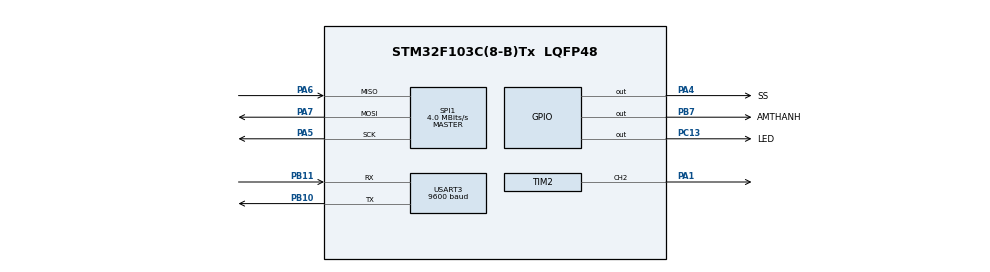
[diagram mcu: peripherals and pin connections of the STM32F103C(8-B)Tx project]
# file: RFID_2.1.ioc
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Mcu.Family=STM32F1
PA6.Mode=Full_Duplex_Master
PA7.Mode=Full_Duplex_Master
PD1-OSC_OUT.Mode=HSE-External-Oscillator
SPI1.VirtualType=VM_MASTER
PB10.Mode=Asynchronous
PC13-TAMPER-RTC.Signal=GPIO_Output
PD0-OSC_IN.Signal=RCC_OSC_IN
TIM2.Channel-PWM\ Generation2\ CH2=TIM_CHANNEL_2
PB11.Signal=USART3_RX
ProjectManager.StackSize=0x400
PD1-OSC_OUT.Signal=RCC_OSC_OUT
PA13.Signal=SYS_JTMS-SWDIO
SH.S_TIM2_CH2.0=TIM2_CH2,PWM Generation2 CH2
USART3.BaudRate=9600
PB11.Mode=Asynchronous
ProjectManager.TargetToolchain=STM32CubeIDE
SPI1.Direction=SPI_DIRECTION_2LINES
SPI1.CalculateBaudRate=4.0 MBits/s
PA1.Signal=S_TIM2_CH2
PD0-OSC_IN.Mode=HSE-External-Oscillator
PB10.Signal=USART3_TX
PA5.Signal=SPI1_SCK
board=custom
PC13-TAMPER-RTC.GPIO_Label=LED
RCC.APB2Freq_Value=8000000
VP_TIM2_VS_ClockSourceINT.Mode=Internal
SPI1.Mode=SPI_MODE_MASTER
PA14.Mode=Serial_Wire
PB7.Signal=GPIO_Output
TIM2.Period=10000-1
PA13.Mode=Serial_Wire
Mcu.Name=STM32F103C(8-B)Tx
PB7.GPIO_Label=AMTHANH
PA4.Signal=GPIO_Output
Mcu.Package=LQFP48
TIM2.Prescaler=16-1
PA6.Signal=SPI1_MISO
USART3.VirtualMode=VM_ASYNC
PA14.Signal=SYS_JTCK-SWCLK
ProjectManager.HeapSize=0x200
NVIC.PriorityGroup=NVIC_PRIORITYGROUP_4
RCC.APB1Freq_Value=8000000
PA4.GPIO_Label=SS
PA5.Mode=Full_Duplex_Master
PA7.Signal=SPI1_MOSI

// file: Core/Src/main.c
/* USER CODE BEGIN Header */
/**
 ******************************************************************************
 * @file           : main.c
 * @brief          : Main program body
 ******************************************************************************
 * @attention
 *
 * <h2><center>&copy; Copyright (c) 2023 STMicroelectronics.
 * All rights reserved.</center></h2>
 *
 * This software component is licensed by ST under BSD 3-Clause license,
 * the "License"; You may not use this file except in compliance with the
 * License. You may obtain a copy of the License at:
 *                        opensource.org/licenses/BSD-3-Clause
 *
 ******************************************************************************
 */
/* USER CODE END Header */
#include "main.h"

/* USER CODE BEGIN Includes */
#include "rc522.h"
#include "string.h"
#include "stdio.h"
/* USER CODE END Includes */

SPI_HandleTypeDef hspi1;

TIM_HandleTypeDef htim2;

UART_HandleTypeDef huart3;

void SystemClock_Config(void);
static void MX_GPIO_Init(void);
static void MX_SPI1_Init(void);
static void MX_TIM2_Init(void);
static void MX_USART3_UART_Init(void);

/* USER CODE BEGIN 0 */
uint8_t CardID[5];
uint8_t CardID_s[5];

uint8_t MyID1[5] = { 0x26, 0x35, 0xaf, 0xac, 0xb3 };
uint8_t MyID2[5] = { 0x26, 0xfc, 0x5, 0xad, 0x11 };
uint8_t MyID3[5] = { 0x26, 0x52, 0xe, 0xad, 0x24 };
uint8_t MyID4[5] = { 0x26, 0x36, 0xf, 0xad, 0x11 };
uint8_t MyID5[5] = { 0x26, 0x5, 0x94, 0xac, 0x8 };
uint8_t Status1 = 0;
uint8_t Status2 = 0;
uint8_t Status3 = 0;
uint8_t Status4 = 0;
uint8_t Status5 = 0;

uint32_t t_prev = 0;
uint32_t t_prev2 = 0;
uint32_t t_prev3 = 0;
void servo_out_ON() {
	__HAL_TIM_SET_COMPARE(&htim2, TIM_CHANNEL_2, 750);  // duty cycle is 2ms
}
void servo_out_OFF() {
	__HAL_TIM_SET_COMPARE(&htim2, TIM_CHANNEL_2, 250);  // duty cycle is 1 ms
}
int a = 1;
int b = 1;
int c = 1;
int d = 1;
uint8_t num;
uint8_t flag;
#define BUFFER_SIZE 20
char buffer[BUFFER_SIZE];
uint8_t DataRx[BUFFER_SIZE];
uint8_t data[10] = { 0x01, 0x02, 0x03, 0x04 };
void HAL_UARTEx_RxEventCallback(UART_HandleTypeDef *huart, uint16_t Size) {
	flag = 1;
	HAL_UARTEx_ReceiveToIdle_IT(&huart3, DataRx, sizeof(DataRx));
}
uint8_t bufferTx[30];
uint8_t num1, num2, num3, num4;
uint8_t tt_loa;
/* USER CODE END 0 */

int main(void) {

	/* MCU Configuration--------------------------------------------------------*/

	/* Reset of all peripherals, Initializes the Flash interface and the Systick. */
	HAL_Init();

	/* Configure the system clock */
	SystemClock_Config();

	/* Initialize all configured peripherals */
	MX_GPIO_Init();
	MX_SPI1_Init();
	MX_TIM2_Init();
	MX_USART3_UART_Init();
	/* USER CODE BEGIN 2 */
	HAL_TIM_PWM_Start(&htim2, TIM_CHANNEL_2);
	TM_MFRC522_Init();
	HAL_GPIO_WritePin(LED_GPIO_Port, LED_Pin, 1);
	HAL_GPIO_WritePin(AMTHANH_GPIO_Port, AMTHANH_Pin, 1);

	HAL_UARTEx_ReceiveToIdle_IT(&huart3, DataRx, sizeof(DataRx));
	/* USER CODE END 2 */

	/* Infinite loop */
	/* USER CODE BEGIN WHILE */
	while (1) {
		//tt_loa = HAL_GPIO_ReadPin(AMTHANH_GPIO_Port, AMTHANH_Pin);
		if (HAL_GetTick() - t_prev >= 100) {
			if (!TM_MFRC522_Request(PICC_REQIDL, CardID)) {
				if (!TM_MFRC522_Anticoll(CardID)) {
					HAL_GPIO_WritePin(LED_GPIO_Port, LED_Pin, 0);
					if (TM_MFRC522_Compare(CardID, MyID1) == MI_OK) {
						servo_out_ON();
						num = 1;
						Status1 = 1;
						HAL_GPIO_WritePin(AMTHANH_GPIO_Port, AMTHANH_Pin, 1);
					} else if (TM_MFRC522_Compare(CardID, MyID2) == MI_OK) {
						servo_out_ON();
						num = 2;
						Status1 = 1;
						HAL_GPIO_WritePin(AMTHANH_GPIO_Port, AMTHANH_Pin, 1);
					} else if (TM_MFRC522_Compare(CardID, MyID3) == MI_OK) {
						servo_out_ON();
						num = 3;
						Status1 = 1;
						HAL_GPIO_WritePin(AMTHANH_GPIO_Port, AMTHANH_Pin, 1);
					} else if (TM_MFRC522_Compare(CardID, MyID4) == MI_OK) {
						servo_out_ON();
						num = 4;
						Status1 = 1;
						HAL_GPIO_WritePin(AMTHANH_GPIO_Port, AMTHANH_Pin, 1);
					} else if (TM_MFRC522_Compare(CardID, MyID5) == MI_OK) {
						servo_out_ON();
						num = 4;
						Status1 = 1;
						HAL_GPIO_WritePin(AMTHANH_GPIO_Port, AMTHANH_Pin, 1);
					}
					sprintf((char*) buffer, "%d\r\n", num);
					HAL_UART_Transmit(&huart3, (uint8_t*) buffer,
							strlen((char*) buffer), 1000);
					t_prev2 = HAL_GetTick();
					t_prev3 = HAL_GetTick();
				}
			}
			t_prev = HAL_GetTick();
		}
		if (Status1 == 1) {
			if (HAL_GetTick() - t_prev3 >= 1000) {
				HAL_GPIO_WritePin(AMTHANH_GPIO_Port, AMTHANH_Pin, 0);
				t_prev3 = HAL_GetTick();
			}
			if (HAL_GetTick() - t_prev2 >= 5000) {
				HAL_UART_Transmit(&huart3, data, sizeof(data), 1000);
				servo_out_OFF();
				HAL_GPIO_WritePin(LED_GPIO_Port, LED_Pin, 1);
				t_prev2 = HAL_GetTick();
				memset(CardID, 0, strlen((char*) CardID));
				Status1 = 0;
			}
		}
		/* USER CODE END WHILE */

	}
}

void SystemClock_Config(void) {
	RCC_OscInitTypeDef RCC_OscInitStruct = { 0 };
	RCC_ClkInitTypeDef RCC_ClkInitStruct = { 0 };

	/** Initializes the RCC Oscillators according to the specified parameters
	 * in the RCC_OscInitTypeDef structure.
	 */
	RCC_OscInitStruct.OscillatorType = RCC_OSCILLATORTYPE_HSI;
	RCC_OscInitStruct.HSIState = RCC_HSI_ON;
	RCC_OscInitStruct.HSICalibrationValue = RCC_HSICALIBRATION_DEFAULT;
	RCC_OscInitStruct.PLL.PLLState = RCC_PLL_NONE;
	if (HAL_RCC_OscConfig(&RCC_OscInitStruct) != HAL_OK) {
		Error_Handler();
	}
	/** Initializes the CPU, AHB and APB buses clocks
	 */
	RCC_ClkInitStruct.ClockType = RCC_CLOCKTYPE_HCLK | RCC_CLOCKTYPE_SYSCLK
			| RCC_CLOCKTYPE_PCLK1 | RCC_CLOCKTYPE_PCLK2;
	RCC_ClkInitStruct.SYSCLKSource = RCC_SYSCLKSOURCE_HSI;
	RCC_ClkInitStruct.AHBCLKDivider = RCC_SYSCLK_DIV1;
	RCC_ClkInitStruct.APB1CLKDivider = RCC_HCLK_DIV1;
	RCC_ClkInitStruct.APB2CLKDivider = RCC_HCLK_DIV1;

	if (HAL_RCC_ClockConfig(&RCC_ClkInitStruct, FLASH_LATENCY_0) != HAL_OK) {
		Error_Handler();
	}
}

static void MX_SPI1_Init(void) {

	/* SPI1 parameter configuration*/
	hspi1.Instance = SPI1;
	hspi1.Init.Mode = SPI_MODE_MASTER;
	hspi1.Init.Direction = SPI_DIRECTION_2LINES;
	hspi1.Init.DataSize = SPI_DATASIZE_8BIT;
	hspi1.Init.CLKPolarity = SPI_POLARITY_LOW;
	hspi1.Init.CLKPhase = SPI_PHASE_1EDGE;
	hspi1.Init.NSS = SPI_NSS_SOFT;
	hspi1.Init.BaudRatePrescaler = SPI_BAUDRATEPRESCALER_2;
	hspi1.Init.FirstBit = SPI_FIRSTBIT_MSB;
	hspi1.Init.TIMode = SPI_TIMODE_DISABLE;
	hspi1.Init.CRCCalculation = SPI_CRCCALCULATION_DISABLE;
	hspi1.Init.CRCPolynomial = 10;
	if (HAL_SPI_Init(&hspi1) != HAL_OK) {
		Error_Handler();
	}

}

static void MX_TIM2_Init(void) {

	TIM_ClockConfigTypeDef sClockSourceConfig = { 0 };
	TIM_MasterConfigTypeDef sMasterConfig = { 0 };
	TIM_OC_InitTypeDef sConfigOC = { 0 };

	htim2.Instance = TIM2;
	htim2.Init.Prescaler = 16 - 1;
	htim2.Init.CounterMode = TIM_COUNTERMODE_UP;
	htim2.Init.Period = 10000 - 1;
	htim2.Init.ClockDivision = TIM_CLOCKDIVISION_DIV1;
	htim2.Init.AutoReloadPreload = TIM_AUTORELOAD_PRELOAD_DISABLE;
	if (HAL_TIM_Base_Init(&htim2) != HAL_OK) {
		Error_Handler();
	}
	sClockSourceConfig.ClockSource = TIM_CLOCKSOURCE_INTERNAL;
	if (HAL_TIM_ConfigClockSource(&htim2, &sClockSourceConfig) != HAL_OK) {
		Error_Handler();
	}
	if (HAL_TIM_PWM_Init(&htim2) != HAL_OK) {
		Error_Handler();
	}
	sMasterConfig.MasterOutputTrigger = TIM_TRGO_RESET;
	sMasterConfig.MasterSlaveMode = TIM_MASTERSLAVEMODE_DISABLE;
	if (HAL_TIMEx_MasterConfigSynchronization(&htim2, &sMasterConfig)
			!= HAL_OK) {
		Error_Handler();
	}
	sConfigOC.OCMode = TIM_OCMODE_PWM1;
	sConfigOC.Pulse = 0;
	sConfigOC.OCPolarity = TIM_OCPOLARITY_HIGH;
	sConfigOC.OCFastMode = TIM_OCFAST_DISABLE;
	if (HAL_TIM_PWM_ConfigChannel(&htim2, &sConfigOC, TIM_CHANNEL_2)
			!= HAL_OK) {
		Error_Handler();
	}
	HAL_TIM_MspPostInit(&htim2);

}

static void MX_USART3_UART_Init(void) {

	huart3.Instance = USART3;
	huart3.Init.BaudRate = 9600;
	huart3.Init.WordLength = UART_WORDLENGTH_8B;
	huart3.Init.StopBits = UART_STOPBITS_1;
	huart3.Init.Parity = UART_PARITY_NONE;
	huart3.Init.Mode = UART_MODE_TX_RX;
	huart3.Init.HwFlowCtl = UART_HWCONTROL_NONE;
	huart3.Init.OverSampling = UART_OVERSAMPLING_16;
	if (HAL_UART_Init(&huart3) != HAL_OK) {
		Error_Handler();
	}

}

static void MX_GPIO_Init(void) {
	GPIO_InitTypeDef GPIO_InitStruct = { 0 };

	/* GPIO Ports Clock Enable */
	__HAL_RCC_GPIOC_CLK_ENABLE();
	__HAL_RCC_GPIOD_CLK_ENABLE();
	__HAL_RCC_GPIOA_CLK_ENABLE();
	__HAL_RCC_GPIOB_CLK_ENABLE();

	/*Configure GPIO pin Output Level */
	HAL_GPIO_WritePin(LED_GPIO_Port, LED_Pin, GPIO_PIN_RESET);

	/*Configure GPIO pin Output Level */
	HAL_GPIO_WritePin(SS_GPIO_Port, SS_Pin, GPIO_PIN_RESET);

	/*Configure GPIO pin Output Level */
	HAL_GPIO_WritePin(AMTHANH_GPIO_Port, AMTHANH_Pin, GPIO_PIN_RESET);

	/*Configure GPIO pin : LED_Pin */
	GPIO_InitStruct.Pin = LED_Pin;
	GPIO_InitStruct.Mode = GPIO_MODE_OUTPUT_PP;
	GPIO_InitStruct.Pull = GPIO_NOPULL;
	GPIO_InitStruct.Speed = GPIO_SPEED_FREQ_LOW;
	HAL_GPIO_Init(LED_GPIO_Port, &GPIO_InitStruct);

	/*Configure GPIO pin : SS_Pin */
	GPIO_InitStruct.Pin = SS_Pin;
	GPIO_InitStruct.Mode = GPIO_MODE_OUTPUT_PP;
	GPIO_InitStruct.Pull = GPIO_NOPULL;
	GPIO_InitStruct.Speed = GPIO_SPEED_FREQ_LOW;
	HAL_GPIO_Init(SS_GPIO_Port, &GPIO_InitStruct);

	/*Configure GPIO pin : AMTHANH_Pin */
	GPIO_InitStruct.Pin = AMTHANH_Pin;
	GPIO_InitStruct.Mode = GPIO_MODE_OUTPUT_PP;
	GPIO_InitStruct.Pull = GPIO_NOPULL;
	GPIO_InitStruct.Speed = GPIO_SPEED_FREQ_LOW;
	HAL_GPIO_Init(AMTHANH_GPIO_Port, &GPIO_InitStruct);

}

void Error_Handler(void) {
	__disable_irq();
	while (1) {
	}
}

/************************ (C) COPYRIGHT STMicroelectronics *****END OF FILE****/
